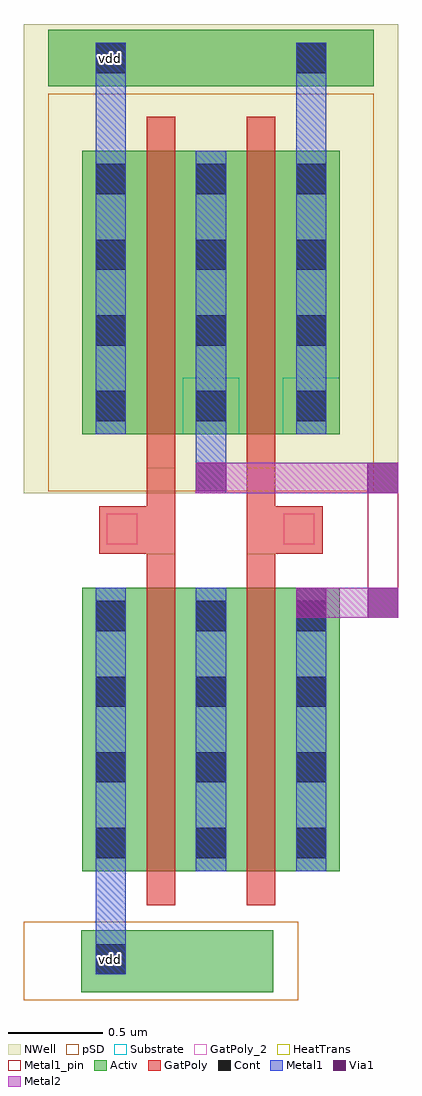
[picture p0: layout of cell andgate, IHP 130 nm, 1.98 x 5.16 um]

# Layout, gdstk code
import gdstk
lib = gdstk.Library(unit=1e-6, precision=5e-09)
def R(c, l, rs):  # rectangles x0, y0, x1, y1
    for r in rs: c.add(gdstk.rectangle(r[:2], r[2:], *l))
def A(c, l, x, y, w, h, nx, ny, dx, dy):  # array of equal rectangles
    R(c, l, [(x+i*dx, y+j*dy, x+i*dx+w, y+j*dy+h) for i in range(nx) for j in range(ny)])
Activ = (1, 0)
GatPoly = (5, 0)
GatPoly_2 = (5, 2)
Cont = (6, 0)
Metal1 = (8, 0)
Metal1_pin = (8, 2)
Metal2 = (10, 0)
pSD = (14, 0)
Via1 = (19, 0)
NWell = (31, 0)
Substrate = (40, 0)
HeatTrans = (51, 0)

nmos_1 = lib.new_cell('nmos$1')
R(nmos_1, Activ, [(0,0,0.3,0.3), (0,0,0.83,1.5), (0.53,0,0.83,0.3)])
R(nmos_1, GatPoly, [(0.34,-0.18,0.49,1.68)])
R(nmos_1, GatPoly_2, [(0.34,-0.18,0.49,1.68)])
A(nmos_1, Cont, 0.07, 0.07, 0.16, 0.16, 1, 4, 0, 0.4)
A(nmos_1, Cont, 0.6, 0.07, 0.16, 0.16, 1, 4, 0, 0.4)
R(nmos_1, Metal1, [(0.07,0,0.23,1.5), (0.6,0,0.76,1.5)])
R(nmos_1, Metal1_pin, [(0.07,0,0.23,1.5), (0.6,0,0.76,1.5)])
R(nmos_1, HeatTrans, [(0.34,-0.18,0.49,1.68)])
nmos_1.add(gdstk.Label('nmos', (0.415,0.75), layer=63, texttype=0))
nmos_1.add(gdstk.Label('nmos', (0.415,0.75), layer=51, texttype=0))

pmos = lib.new_cell('pmos')
R(pmos, Activ, [(0,0,0.3,0.3), (0,0,0.83,1.5), (0.53,0,0.83,0.3)])
R(pmos, GatPoly, [(0.34,-0.18,0.49,1.68), (0.34,-0.18,0.49,1.68)])
A(pmos, Cont, 0.07, 0.07, 0.16, 0.16, 1, 4, 0, 0.4)
A(pmos, Cont, 0.6, 0.07, 0.16, 0.16, 1, 4, 0, 0.4)
R(pmos, Metal1, [(0.07,0,0.23,1.5), (0.07,0,0.23,1.5), (0.6,0,0.76,1.5), (0.6,0,0.76,1.5)])
R(pmos, pSD, [(-0.18,-0.3,1.01,1.8)])
R(pmos, NWell, [(-0.31,-0.31,1.14,1.81)])
R(pmos, Substrate, [(0.53,0,0.83,0.3)])
R(pmos, HeatTrans, [(0.34,-0.18,0.49,1.68)])
pmos.add(gdstk.Label('pmos', (0.415,0.75), layer=63, texttype=0))
pmos.add(gdstk.Label('pmos', (0.415,0.75), layer=51, texttype=0))

nmos_1_1 = lib.new_cell('nmos$1$1')
R(nmos_1_1, Activ, [(0,0,0.3,0.3), (0,0,0.83,1.5), (0.53,0,0.83,0.3)])
R(nmos_1_1, GatPoly, [(0.34,-0.18,0.49,1.68)])
R(nmos_1_1, GatPoly_2, [(0.34,-0.18,0.49,1.68)])
A(nmos_1_1, Cont, 0.07, 0.07, 0.16, 0.16, 1, 4, 0, 0.4)
A(nmos_1_1, Cont, 0.6, 0.07, 0.16, 0.16, 1, 4, 0, 0.4)
R(nmos_1_1, Metal1, [(0.07,0,0.23,1.5), (0.6,0,0.76,1.5)])
R(nmos_1_1, Metal1_pin, [(0.07,0,0.23,1.5), (0.6,0,0.76,1.5)])
R(nmos_1_1, HeatTrans, [(0.34,-0.18,0.49,1.68)])
nmos_1_1.add(gdstk.Label('nmos', (0.415,0.75), layer=63, texttype=0))
nmos_1_1.add(gdstk.Label('nmos', (0.415,0.75), layer=51, texttype=0))

pmos_1 = lib.new_cell('pmos$1')
R(pmos_1, Activ, [(0,0,0.3,0.3), (0,0,0.83,1.5), (0.53,0,0.83,0.3)])
R(pmos_1, GatPoly, [(0.34,-0.18,0.49,1.68), (0.34,-0.18,0.49,1.68)])
A(pmos_1, Cont, 0.07, 0.07, 0.16, 0.16, 1, 4, 0, 0.4)
A(pmos_1, Cont, 0.6, 0.07, 0.16, 0.16, 1, 4, 0, 0.4)
R(pmos_1, Metal1, [(0.07,0,0.23,1.5), (0.07,0,0.23,1.5), (0.6,0,0.76,1.5), (0.6,0,0.76,1.5)])
R(pmos_1, pSD, [(-0.18,-0.3,1.01,1.8)])
R(pmos_1, NWell, [(-0.31,-0.31,1.14,1.81)])
R(pmos_1, Substrate, [(0.53,0,0.83,0.3)])
R(pmos_1, HeatTrans, [(0.34,-0.18,0.49,1.68)])
pmos_1.add(gdstk.Label('pmos', (0.415,0.75), layer=63, texttype=0))
pmos_1.add(gdstk.Label('pmos', (0.415,0.75), layer=51, texttype=0))

inverter_1 = lib.new_cell('inverter$1')
R(inverter_1, Activ, [(-0.62,-2.585,0.395,-2.255), (-0.795,2.205,0.925,2.505)])
R(inverter_1, GatPoly, [(-0.525,-0.265,-0.275,-0.015), (-0.275,-0.265,-0.125,0.185), (0.255,-0.265,0.405,0.185), (0.405,-0.265,0.655,-0.015)])
R(inverter_1, GatPoly_2, [(-0.485,-0.215,-0.325,-0.055), (0.45,-0.215,0.61,-0.055)])
R(inverter_1, Cont, [(-0.545,-2.49,-0.385,-2.33), (-0.545,2.275,-0.385,2.435), (0.515,2.275,0.675,2.435)])
R(inverter_1, Metal1, [(-0.545,-2.49,-0.385,-1.945), (-0.015,0.055,0.145,0.365), (-0.545,1.865,-0.385,2.435), (0.515,1.865,0.675,2.435)])
R(inverter_1, Metal1_pin, [(-0.545,-2.49,-0.385,-2.33), (0.895,-0.605,1.055,0.215), (-0.545,2.275,-0.385,2.435)])
R(inverter_1, Metal2, [(0.515,-0.605,1.055,-0.445), (-0.015,0.055,1.055,0.215)])
R(inverter_1, pSD, [(-0.925,-2.625,0.525,-2.21)])
R(inverter_1, Via1, [(0.515,-0.605,0.675,-0.445), (0.895,-0.605,1.055,-0.445), (0.89,0.055,1.055,0.215), (-0.015,0.065,0.145,0.215)])
R(inverter_1, NWell, [(-0.925,2.175,1.055,2.535)])
inverter_1.add(gdstk.Reference(nmos_1_1, (-0.615,-1.945)))
inverter_1.add(gdstk.Reference(pmos_1, (-0.085,0.365)))
inverter_1.add(gdstk.Reference(nmos_1_1, (-0.085,-1.945)))
inverter_1.add(gdstk.Reference(pmos_1, (-0.615,0.365)))
inverter_1.add(gdstk.Label('vdd', (-0.465,-2.41), layer=8, texttype=2))
inverter_1.add(gdstk.Label('vdd', (-0.465,2.355), layer=8, texttype=2))

andgate = lib.new_cell('andgate')
R(andgate, Activ, [(-0.62,-2.585,0.395,-2.255), (-0.795,2.205,0.925,2.505)])
R(andgate, GatPoly, [(-0.525,-0.265,-0.275,-0.015), (-0.275,-0.265,-0.125,0.185), (0.255,-0.265,0.405,0.185), (0.405,-0.265,0.655,-0.015)])
R(andgate, GatPoly_2, [(-0.485,-0.215,-0.325,-0.055), (0.45,-0.215,0.61,-0.055)])
R(andgate, Cont, [(-0.545,-2.49,-0.385,-2.33), (-0.545,2.275,-0.385,2.435), (0.515,2.275,0.675,2.435)])
R(andgate, Metal1, [(-0.545,-2.49,-0.385,-1.945), (-0.015,0.055,0.145,0.365), (-0.545,1.865,-0.385,2.435), (0.515,1.865,0.675,2.435)])
R(andgate, Metal1_pin, [(-0.545,-2.49,-0.385,-2.33), (0.895,-0.605,1.055,0.215), (-0.545,2.275,-0.385,2.435)])
R(andgate, Metal2, [(0.515,-0.605,1.055,-0.445), (-0.015,0.055,1.055,0.215)])
R(andgate, pSD, [(-0.925,-2.625,0.525,-2.21)])
R(andgate, Via1, [(0.515,-0.605,0.675,-0.445), (0.895,-0.605,1.055,-0.445), (0.89,0.055,1.055,0.215), (-0.015,0.065,0.145,0.215)])
R(andgate, NWell, [(-0.925,2.175,1.055,2.535)])
andgate.add(gdstk.Reference(nmos_1, (-0.615,-1.945)))
andgate.add(gdstk.Reference(pmos, (-0.085,0.365)))
andgate.add(gdstk.Reference(pmos, (-0.615,0.365)))
andgate.add(gdstk.Reference(inverter_1, (0,0)))
andgate.add(gdstk.Reference(nmos_1, (-0.085,-1.945)))
andgate.add(gdstk.Label('vdd', (-0.465,-2.41), layer=8, texttype=2))
andgate.add(gdstk.Label('vdd', (-0.465,2.355), layer=8, texttype=2))

lib.write_gds('andgate.gds')
